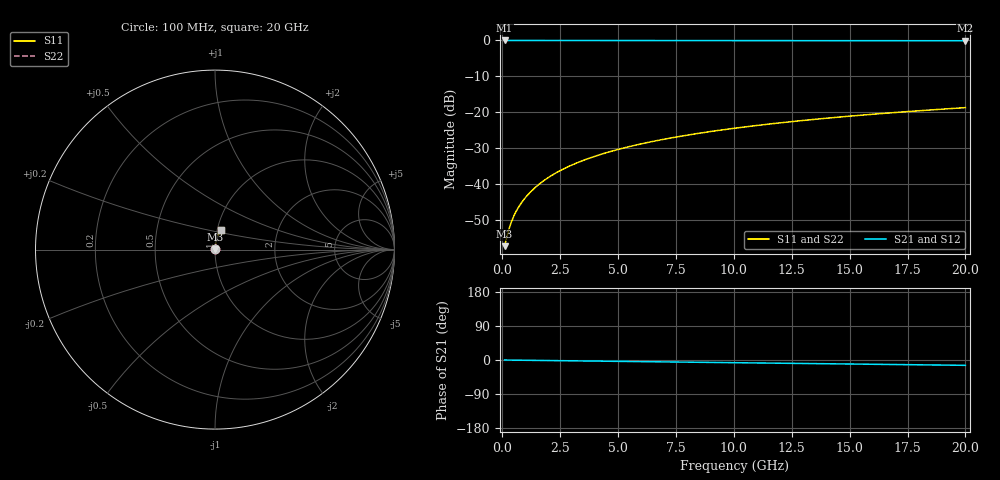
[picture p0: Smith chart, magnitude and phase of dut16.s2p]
! Touchstone file exported from HFSS 2026.1.0
!  File:  C:/ffzhzh/LocalFiles/Ansys_Project_Files/temp_train_TMRDL_16_1782880233_43084.aedt
!  Generated:  12:31:51 PM Jul  1, 2026
!  Design:  TMRDL
!  Project:  temp_train_TMRDL_16_1782880233_43084
! Variables:
!  h_bsmrdl = 2um
!  h_ox = 20um
!  h_rdl = 5um
!  h_sub = 80um
!  h_tmrdl = 2.72um
!  h_tsv = 80um
!  h_via = 3um
!  l_bsmrdl = 300um
!  l_sub = 583.38um
!  l_tmrdl = 183.38um
!  m_sub = 200um
!  pitch = 47.75um
!  r_tsv = 6um
!  s_tmrdl = 10um
!  w_bsmrdl = 18um
!  w_sub = 500um
!  w_tmrdl = 29.78um
!  x_tsv_center1 = 198.27um
!  x_tsv_center2 = 516.27um
!  x_tsv_center3 = 729.43um
!  x_tsv_center4 = 1047.43um
!  x_tsv_center5 = 1260.59um
!  x_tsv_center6 = 1578.59um
# GHz S MA R 50.000000
! Terminal data exported
! Port[1] = TM_RDL1_1_T1
! Port[2] = TM_RDL1_1_T2
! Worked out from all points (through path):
!   200 points, 100 MHz to 20 GHz, reference 50 ohm
!   highest |S21| = -0.01 dB at 100 MHz (marker M1); lowest = -0.1 dB at 20 GHz (marker M2)
!   group delay of S21, straight-line fit = 1.95 ps
!   lowest |S11| = -57.4 dB at 100 MHz (marker M3), VSWR 1.00, Z = 50.1 + j0.0709 ohm
!   |S11| at or under -10 dB: start of sweep to end of sweep
!   |S22| runs from -57.4 to -18.7 dB; largest |S21 - S12| = 3.4e-15
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0.1  0.001354 31.5  0.9988 -0.1  0.9988 -0.1  0.001354 31.5
! Gamma 0 0 0 0
! Port Impedance 50 0 50 0
0.2  0.001846 48.9  0.9988 -0.2  0.9988 -0.2  0.001846 48.9
0.3  0.002415 57.8  0.9987 -0.2  0.9987 -0.2  0.002415 57.8
0.4  0.002995 63.0  0.9986 -0.3  0.9986 -0.3  0.002995 63.0
0.5  0.003572 66.5  0.9986 -0.4  0.9986 -0.4  0.003572 66.5
0.6  0.004146 69.1  0.9985 -0.4  0.9985 -0.4  0.004146 69.1
0.8  0.005294 72.8  0.9985 -0.6  0.9985 -0.6  0.005294 72.8
1.1  0.00703 76.2  0.9984 -0.8  0.9984 -0.8  0.00703 76.2
1.3  0.008198 77.8  0.9984 -0.9  0.9984 -0.9  0.008198 77.8
1.6  0.009964 79.4  0.9983 -1.2  0.9983 -1.2  0.009964 79.4
2.1  0.01293 81.0  0.9983 -1.5  0.9983 -1.5  0.01293 81.0
2.7  0.0165 82.0  0.9981 -1.9  0.9981 -1.9  0.0165 82.0
3.5  0.02128 82.6  0.998 -2.5  0.998 -2.5  0.02128 82.6
4.2  0.02546 82.7  0.9978 -3.0  0.9978 -3.0  0.02546 82.7
5  0.03022 82.6  0.9975 -3.6  0.9975 -3.6  0.03022 82.6
5.9  0.03555 82.3  0.9972 -4.2  0.9972 -4.2  0.03555 82.3
6.8  0.04086 81.9  0.9969 -4.9  0.9969 -4.9  0.04086 81.9
8.3  0.04965 81.1  0.9962 -5.9  0.9962 -5.9  0.04965 81.1
10.1  0.06009 80.0  0.9953 -7.2  0.9953 -7.2  0.06009 80.1
13.4  0.07894 78.0  0.9934 -9.5  0.9934 -9.5  0.07894 78.0
16.7  0.09744 75.9  0.9913 -11.8  0.9913 -11.8  0.09744 75.9
20  0.1156 73.8  0.9889 -14.1  0.9889 -14.1  0.1156 73.8
